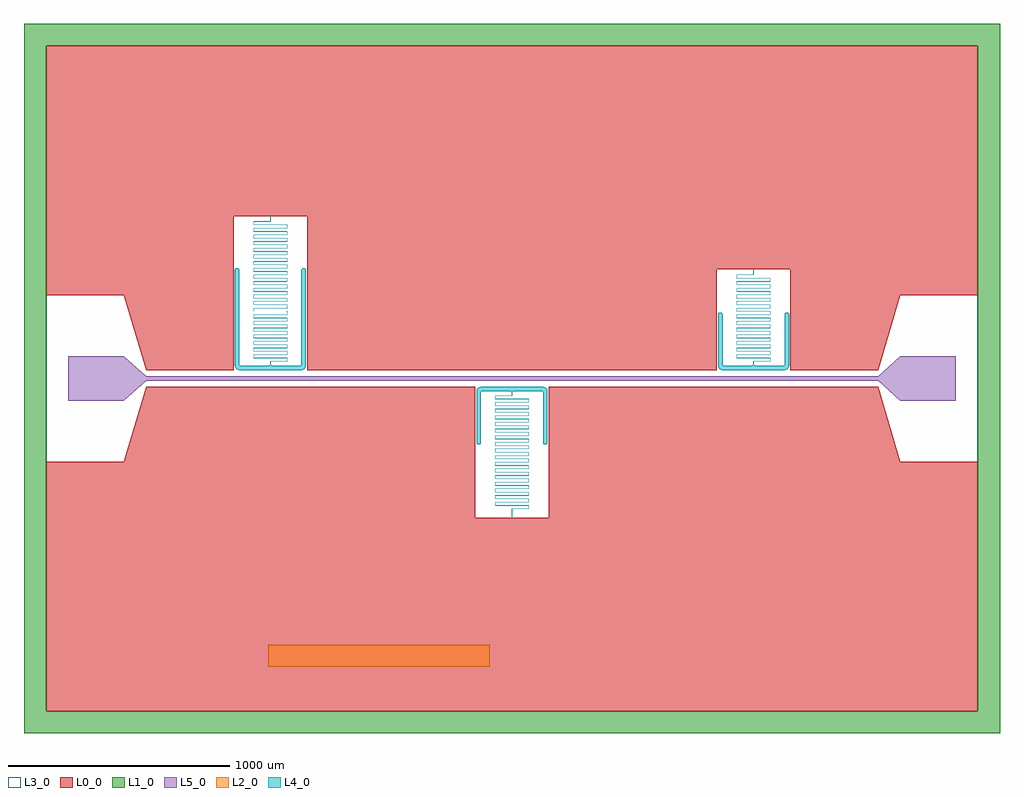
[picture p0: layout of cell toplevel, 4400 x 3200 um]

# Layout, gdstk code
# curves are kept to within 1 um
import gdstk
lib = gdstk.Library(unit=1e-6, precision=1e-09)
def R(c, l, rs):  # rectangles x0, y0, x1, y1
    for r in rs: c.add(gdstk.rectangle(r[:2], r[2:], *l))
def P(c, l, *ps):  # polygons
    for p in ps: c.add(gdstk.Polygon(p, *l))
L0_0 = (0, 0)
L1_0 = (1, 0)
L2_0 = (2, 0)
L3_0 = (3, 0)
L4_0 = (4, 0)
L5_0 = (5, 0)

toplevel = lib.new_cell('toplevel')
P(toplevel, L0_0, [(-924,732.5),(-924,37.5),(924,37.5),(924,492.5),(1254,492.5),(1254,37.5),(1650,37.5),(1750,375),(2100,375),(2100,1500),(-2100,1500),(-2100,375),(-1750,375),(-1650,37.5),(-1254,37.5),(-1254,732.5)],
  [(1650,-37.5),(165,-37.5),(165,-627.5),(-165,-627.5),(-165,-37.5),(-1650,-37.5),(-1750,-375),(-2100,-375),(-2100,-1500),(2100,-1500),(2100,-375),(1750,-375)])
P(toplevel, L1_0, [(2200,1600),(-2200,1600),(-2200,-1500),(-2100,-1500),(-2100,1500),(2100,1500),(2100,-1500),(-2100,-1500),(-2200,-1500),(-2200,-1600),(2200,-1600)])
R(toplevel, L2_0, [(-1100,-1300,-100,-1200)])
R(toplevel, L3_0, [(-2100,-1500,2100,1500)])
P(toplevel, L4_0, [(-957.256,37.5),(-946.018,38.652),(-937.664,42.765),(-931.925,49.852),(-929.25,59.469),(-929,302.861),(-949,302.861),(-949.028,63.36),(-950.06,58.461),(-956.931,57.5),(-1079,57.5),(-1088.7,62.5),(-1088.291,77.175),(-1014.361,77.305),(-1013.703,78.388),(-1013.702,91.589),(-1014.693,92.78),(-1163.666,93.171),(-1163.696,106.609),(-1163.132,107.195),(-1013.928,107.636),(-1013.704,121.63),(-1014.73,122.785),(-1162.888,122.8),(-1163.7,123.606),(-1163.176,137.191),(-1013.961,137.594),(-1013.707,151.684),(-1014.755,152.787),(-1162.94,152.8),(-1163.7,153.591),(-1163.184,167.19),(-1014.035,167.513),(-1013.707,181.684),(-1014.755,182.787),(-1162.94,182.8),(-1163.7,183.591),(-1163.184,197.19),(-1014.118,197.442),(-1013.707,211.683),(-1014.755,212.787),(-1162.935,212.8),(-1163.7,213.591),(-1163.184,227.19),(-1014.211,227.379),(-1013.702,241.56),(-1014.755,242.787),(-1162.935,242.8),(-1163.699,243.48),(-1163.184,257.19),(-1014.407,257.287),(-1013.706,258.346),(-1013.702,271.56),(-1014.755,272.787),(-1162.935,272.8),(-1163.699,273.476),(-1163.184,287.19),(-1014.571,287.241),(-1013.706,288.34),(-1013.702,301.56),(-1015.111,302.8),(-1164.195,302.861),(-1162.964,302.2),(-1014.428,302.03),(-1014.798,287.812),(-1162.888,287.8),(-1163.959,287.492),(-1164.3,286.404),(-1164.287,273.249),(-1163.251,272.213),(-1014.458,272.061),(-1014.798,257.812),(-1162.888,257.8),(-1163.959,257.492),(-1164.3,256.404),(-1164.295,243.352),(-1163.251,242.213),(-1014.535,242.115),(-1014.798,227.812),(-1162.888,227.8),(-1163.959,227.492),(-1164.3,226.404),(-1164.289,213.274),(-1163.251,212.213),(-1014.686,212.17),(-1014.605,197.854),(-1163.245,197.787),(-1164.292,196.684),(-1164.3,183.59),(-1162.97,182.2),(-1014.815,182.19),(-1014.466,167.932),(-1163.245,167.787),(-1164.292,166.684),(-1164.3,153.59),(-1162.97,152.2),(-1014.815,152.19),(-1014.433,137.964),(-1163.251,137.787),(-1164.294,136.666),(-1164.3,123.595),(-1163.987,122.535),(-1162.888,122.2),(-1014.85,122.193),(-1014.303,121.595),(-1014.3,108.612),(-1015.112,107.8),(-1163.238,107.788),(-1164.294,106.653),(-1164.3,93.612),(-1163.982,92.529),(-1162.888,92.2),(-1014.811,92.19),(-1014.45,77.946),(-1088.481,77.746),(-1089.296,76.612),(-1089.3,62.5),(-1099,57.5),(-1221.878,57.504),(-1227.976,58.489),(-1228.998,64.94),(-1229,302.861),(-1249,302.861),(-1248.965,62.829),(-1246.945,51.792),(-1244.619,47.373),(-1241.507,43.761),(-1233.471,39.103),(-1223.255,37.524)],
  [(-1163.433,302.869),(-1163.631,303.067),(-1163.699,303.471),(-1163.698,316.567),(-1163.572,317.03),(-1163.184,317.19),(-1015.036,317.2),(-1014.526,317.252),(-1014.142,317.424),(-1013.875,317.718),(-1013.73,318.13),(-1013.707,331.678),(-1013.797,332.119),(-1014.007,332.459),(-1014.328,332.681),(-1014.755,332.787),(-1162.935,332.8),(-1163.476,332.891),(-1163.678,333.229),(-1163.698,346.567),(-1163.572,347.03),(-1163.184,347.19),(-1015.036,347.2),(-1014.532,347.25),(-1014.148,347.42),(-1013.883,347.705),(-1013.733,348.11),(-1013.707,361.677),(-1013.797,362.119),(-1014.007,362.459),(-1014.328,362.681),(-1014.755,362.787),(-1162.935,362.8),(-1163.471,362.888),(-1163.675,363.213),(-1163.698,376.567),(-1163.572,377.03),(-1163.184,377.19),(-1015.036,377.2),(-1014.532,377.25),(-1014.155,377.415),(-1013.887,377.699),(-1013.737,378.091),(-1013.707,391.677),(-1013.797,392.119),(-1014.007,392.459),(-1014.328,392.681),(-1014.755,392.787),(-1162.935,392.8),(-1163.468,392.887),(-1163.673,393.201),(-1163.698,406.567),(-1163.572,407.03),(-1163.18,407.191),(-1015.041,407.2),(-1014.545,407.247),(-1014.167,407.407),(-1013.898,407.68),(-1013.743,408.065),(-1013.707,421.677),(-1013.797,422.119),(-1014.007,422.459),(-1014.328,422.681),(-1014.755,422.787),(-1162.93,422.8),(-1163.46,422.882),(-1163.67,423.186),(-1163.698,436.567),(-1163.572,437.03),(-1163.18,437.191),(-1015.041,437.2),(-1014.552,437.245),(-1014.18,437.398),(-1013.907,437.667),(-1013.749,438.039),(-1013.707,451.677),(-1013.797,452.119),(-1014.007,452.459),(-1014.328,452.681),(-1014.755,452.787),(-1162.93,452.8),(-1163.454,452.879),(-1163.665,453.168),(-1163.698,466.567),(-1163.572,467.03),(-1163.18,467.191),(-1015.041,467.2),(-1014.558,467.244),(-1014.192,467.39),(-1013.92,467.648),(-1013.757,468.006),(-1013.707,481.671),(-1013.795,482.112),(-1014.002,482.453),(-1014.328,482.681),(-1014.755,482.787),(-1162.93,482.8),(-1163.445,482.875),(-1163.66,483.15),(-1163.698,496.563),(-1163.572,497.03),(-1163.18,497.191),(-1015.041,497.2),(-1014.205,497.383),(-1013.937,497.624),(-1013.768,497.967),(-1013.7,498.547),(-1013.707,511.671),(-1013.795,512.112),(-1014.002,512.453),(-1014.328,512.681),(-1014.755,512.787),(-1162.93,512.8),(-1163.436,512.871),(-1163.654,513.129),(-1163.698,526.563),(-1163.572,527.03),(-1163.18,527.191),(-1015.047,527.2),(-1014.231,527.368),(-1013.961,527.593),(-1013.783,527.921),(-1013.7,528.541),(-1013.707,541.672),(-1013.795,542.112),(-1014.002,542.453),(-1014.328,542.681),(-1014.755,542.787),(-1162.925,542.8),(-1163.421,542.864),(-1163.645,543.102),(-1163.698,556.563),(-1163.572,557.03),(-1163.18,557.191),(-1015.047,557.2),(-1014.25,557.357),(-1013.981,557.57),(-1013.802,557.868),(-1013.7,558.53),(-1013.706,571.665),(-1013.795,572.112),(-1014.002,572.453),(-1014.328,572.681),(-1014.755,572.787),(-1162.925,572.8),(-1163.405,572.858),(-1163.633,573.073),(-1163.7,573.55),(-1163.698,586.558),(-1163.574,587.028),(-1163.18,587.191),(-1015.052,587.2),(-1014.283,587.34),(-1013.831,587.802),(-1013.7,588.519),(-1013.706,601.659),(-1013.795,602.112),(-1014.002,602.453),(-1014.328,602.681),(-1014.755,602.787),(-1162.92,602.8),(-1163.385,602.85),(-1163.618,603.04),(-1163.7,603.54),(-1163.698,616.558),(-1163.574,617.028),(-1163.18,617.191),(-1015.058,617.2),(-1014.328,617.319),(-1013.871,617.724),(-1013.7,618.503),(-1013.706,631.653),(-1013.792,632.106),(-1014.002,632.453),(-1014.328,632.681),(-1014.755,632.787),(-1162.92,632.8),(-1163.361,632.843),(-1163.596,633.003),(-1163.7,633.53),(-1163.698,646.553),(-1163.574,647.028),(-1163.18,647.191),(-1015.063,647.2),(-1014.388,647.295),(-1013.937,647.624),(-1013.76,647.993),(-1013.701,648.48),(-1013.705,661.642),(-1013.79,662.099),(-1013.997,662.448),(-1014.322,662.678),(-1014.749,662.787),(-1162.914,662.8),(-1163.328,662.834),(-1163.565,662.962),(-1163.7,663.52),(-1163.699,676.544),(-1163.575,677.025),(-1163.18,677.191),(-1015.074,677.2),(-1014.473,677.266),(-1014.047,677.502),(-1013.79,677.901),(-1013.701,678.452),(-1013.704,691.618),(-1013.785,692.086),(-1013.991,692.442),(-1014.315,692.675),(-1014.749,692.787),(-1162.909,692.8),(-1163.514,692.916),(-1163.654,693.129),(-1163.699,693.5),(-1163.699,706.505),(-1163.602,706.987),(-1163.287,707.175),(-1090.069,707.2),(-1089.257,707.354),(-1088.843,707.776),(-1088.701,708.457),(-1088.7,732.5),(-1089.3,732.5),(-1089.3,708.52),(-1089.355,708.102),(-1089.535,707.885),(-1090.08,707.8),(-1163.416,707.761),(-1163.795,707.617),(-1164.067,707.37),(-1164.236,707.02),(-1164.298,706.571),(-1164.298,693.429),(-1164.184,692.835),(-1163.864,692.428),(-1163.461,692.249),(-1162.92,692.2),(-1014.82,692.191),(-1014.425,692.025),(-1014.301,691.539),(-1014.3,678.51),(-1014.456,677.941),(-1015.091,677.8),(-1163.251,677.787),(-1163.685,677.675),(-1164.008,677.442),(-1164.213,677.092),(-1164.296,676.63),(-1164.299,663.463),(-1164.226,662.947),(-1164.014,662.564),(-1163.573,662.281),(-1162.931,662.2),(-1014.82,662.191),(-1014.425,662.025),(-1014.302,661.548),(-1014.3,648.525),(-1014.418,647.984),(-1014.653,647.839),(-1015.086,647.8),(-1163.245,647.787),(-1163.678,647.678),(-1164.003,647.448),(-1164.21,647.099),(-1164.295,646.648),(-1164.299,633.491),(-1164.25,633.032),(-1164.097,632.673),(-1163.645,632.308),(-1162.937,632.2),(-1014.82,632.191),(-1014.426,632.028),(-1014.302,631.553),(-1014.3,618.54),(-1014.391,618.024),(-1014.625,617.847),(-1015.08,617.8),(-1163.245,617.787),(-1163.671,617.681),(-1163.998,617.453),(-1164.205,617.112),(-1164.294,616.659),(-1164.3,603.508),(-1164.15,602.763),(-1163.698,602.331),(-1162.948,602.2),(-1014.82,602.191),(-1014.426,602.028),(-1014.302,601.558),(-1014.3,588.545),(-1014.373,588.058),(-1014.602,587.855),(-1015.075,587.8),(-1163.245,587.787),(-1163.671,587.681),(-1163.998,587.453),(-1164.205,587.112),(-1164.294,586.665),(-1164.3,573.525),(-1164.184,572.835),(-1163.73,572.347),(-1162.948,572.2),(-1014.82,572.191),(-1014.426,572.028),(-1014.302,571.558),(-1014.36,558.089),(-1014.586,557.861),(-1015.075,557.8),(-1163.245,557.787),(-1163.671,557.681),(-1163.998,557.453),(-1164.205,557.112),(-1164.294,556.665),(-1164.3,543.536),(-1164.208,542.894),(-1164.029,542.582),(-1163.763,542.364),(-1162.953,542.2),(-1014.82,542.191),(-1014.428,542.03),(-1014.302,541.563),(-1014.35,528.115),(-1014.573,527.867),(-1015.075,527.8),(-1163.245,527.787),(-1163.671,527.681),(-1163.998,527.453),(-1164.205,527.112),(-1164.293,526.672),(-1164.3,513.547),(-1164.226,512.947),(-1164.053,512.612),(-1163.782,512.375),(-1162.953,512.2),(-1014.82,512.191),(-1014.428,512.03),(-1014.302,511.563),(-1014.343,498.139),(-1014.561,497.872),(-1015.07,497.8),(-1163.245,497.787),(-1163.671,497.681),(-1163.998,497.453),(-1164.205,497.112),(-1164.293,496.671),(-1164.238,482.987),(-1164.071,482.636),(-1163.801,482.387),(-1163.435,482.243),(-1162.959,482.2),(-1014.82,482.191),(-1014.428,482.03),(-1014.302,481.563),(-1014.337,468.16),(-1014.549,467.878),(-1015.07,467.8),(-1163.245,467.787),(-1163.671,467.681),(-1163.992,467.459),(-1164.203,467.119),(-1164.293,466.677),(-1164.246,453.019),(-1164.085,452.655),(-1163.814,452.394),(-1163.441,452.244),(-1162.959,452.2),(-1014.82,452.191),(-1014.428,452.03),(-1014.302,451.567),(-1014.332,438.179),(-1014.543,437.881),(-1015.07,437.8),(-1163.245,437.787),(-1163.671,437.681),(-1163.992,437.459),(-1164.203,437.119),(-1164.293,436.677),(-1164.254,423.052),(-1164.097,422.673),(-1163.827,422.403),(-1163.454,422.247),(-1162.959,422.2),(-1014.82,422.191),(-1014.428,422.03),(-1014.302,421.567),(-1014.329,408.194),(-1014.535,407.885),(-1015.065,407.8),(-1163.245,407.787),(-1163.671,407.681),(-1163.992,407.459),(-1164.203,407.119),(-1164.293,406.677),(-1164.26,393.078),(-1164.105,392.686),(-1163.839,392.411),(-1163.461,392.249),(-1162.964,392.2),(-1014.815,392.19),(-1014.428,392.03),(-1014.302,391.567),(-1014.325,378.209),(-1014.529,377.888),(-1015.065,377.8),(-1163.245,377.787),(-1163.671,377.681),(-1163.992,377.459),(-1164.203,377.119),(-1164.293,376.677),(-1164.264,363.097),(-1164.113,362.699),(-1163.845,362.415),(-1163.468,362.25),(-1162.964,362.2),(-1014.815,362.19),(-1014.428,362.03),(-1014.302,361.567),(-1014.323,348.221),(-1014.526,347.89),(-1015.065,347.8),(-1163.245,347.787),(-1163.671,347.681),(-1163.992,347.459),(-1164.203,347.119),(-1164.293,346.677),(-1164.269,333.123),(-1164.121,332.711),(-1163.852,332.42),(-1163.468,332.25),(-1162.964,332.2),(-1014.815,332.19),(-1014.428,332.03),(-1014.302,331.567),(-1014.321,318.233),(-1014.521,317.893),(-1015.065,317.8),(-1163.245,317.787),(-1163.717,317.66),(-1164.058,317.382),(-1164.25,316.968),(-1164.3,316.404),(-1164.294,303.334),(-1164.195,302.861)],
  [(-1229,487.5),(-1231.627,494.256),(-1238.564,497.49),(-1245.756,494.873),(-1248.962,488.372),(-1249,302.861),(-1229,302.861)],
  [(-929,487.5),(-931.627,494.256),(-938.564,497.49),(-945.756,494.873),(-948.962,488.372),(-949,302.861),(-929,302.861)],
  [(-149.564,-297.49),(-143.244,-294.873),(-140.152,-289.236),(-140,-243.11),(-160,-243.11),(-159.848,-289.236),(-156.088,-295.433)],
  [(0.3,-588.55),(0.439,-587.958),(0.956,-587.801),(74.468,-587.75),(74.833,-587.593),(75.113,-587.301),(75.257,-586.935),(75.3,-586.388),(75.295,-573.364),(75.102,-572.68),(74.652,-572.31),(73.926,-572.2),(-74.18,-572.191),(-74.575,-572.025),(-74.699,-571.544),(-74.7,-558.52),(-74.648,-558.112),(-74.494,-557.902),(-73.914,-557.8),(74.251,-557.787),(74.678,-557.678),(75.003,-557.448),(75.21,-557.099),(75.295,-556.642),(75.299,-543.48),(75.208,-542.894),(74.918,-542.471),(74.468,-542.25),(73.937,-542.2),(-74.18,-542.191),(-74.574,-542.028),(-74.698,-541.553),(-74.7,-528.53),(-74.554,-527.95),(-74.321,-527.832),(-73.92,-527.8),(74.245,-527.787),(74.671,-527.681),(74.998,-527.453),(75.208,-527.106),(75.294,-526.654),(75.299,-513.503),(75.234,-512.973),(75.039,-512.593),(74.599,-512.29),(73.942,-512.2),(-74.18,-512.191),(-74.574,-512.028),(-74.698,-511.558),(-74.7,-498.54),(-74.599,-498.008),(-74.385,-497.85),(-73.92,-497.8),(74.245,-497.787),(74.671,-497.681),(74.998,-497.453),(75.205,-497.112),(75.294,-496.659),(75.3,-483.519),(75.129,-482.724),(74.639,-482.305),(73.948,-482.2),(-74.18,-482.191),(-74.574,-482.027),(-74.698,-481.558),(-74.7,-468.55),(-74.615,-468.035),(-74.361,-467.843),(-73.925,-467.8),(74.245,-467.787),(74.671,-467.681),(74.998,-467.453),(75.205,-467.112),(75.294,-466.665),(75.3,-453.53),(75.163,-452.789),(74.75,-452.357),(73.953,-452.2),(-74.18,-452.191),(-74.572,-452.03),(-74.698,-451.563),(-74.7,-438.555),(-74.626,-438.058),(-74.378,-437.848),(-73.925,-437.8),(74.245,-437.787),(74.671,-437.681),(74.998,-437.453),(75.205,-437.112),(75.293,-436.671),(75.3,-423.541),(75.181,-422.828),(74.982,-422.529),(74.691,-422.328),(73.953,-422.2),(-74.18,-422.191),(-74.572,-422.03),(-74.698,-421.563),(-74.7,-408.56),(-74.637,-408.082),(-74.392,-407.853),(-73.93,-407.8),(74.245,-407.787),(74.671,-407.681),(74.998,-407.453),(75.205,-407.112),(75.293,-406.671),(75.3,-393.547),(75.2,-392.875),(75.034,-392.587),(74.756,-392.36),(73.959,-392.2),(-74.18,-392.191),(-74.572,-392.03),(-74.698,-391.563),(-74.645,-378.102),(-74.398,-377.855),(-73.93,-377.8),(74.245,-377.787),(74.671,-377.681),(74.998,-377.453),(75.205,-377.112),(75.293,-376.671),(75.3,-363.558),(75.228,-362.954),(75.08,-362.648),(74.808,-362.39),(74.442,-362.244),(73.959,-362.2),(-74.18,-362.191),(-74.572,-362.03),(-74.698,-361.567),(-74.65,-348.115),(-74.454,-347.879),(-73.93,-347.8),(74.245,-347.787),(74.671,-347.681),(74.992,-347.459),(75.203,-347.119),(75.293,-346.677),(75.3,-333.563),(75.224,-332.94),(75.034,-332.587),(74.782,-332.375),(73.959,-332.2),(-74.18,-332.191),(-74.572,-332.03),(-74.698,-331.567),(-74.67,-318.186),(-74.46,-317.882),(-73.93,-317.8),(74.245,-317.787),(74.671,-317.681),(74.992,-317.459),(75.203,-317.119),(75.293,-316.678),(75.245,-303.013),(75.102,-302.68),(74.833,-302.407),(74.454,-302.247),(73.959,-302.2),(-74.18,-302.191),(-74.572,-302.03),(-74.698,-301.567),(-74.673,-288.202),(-74.468,-287.887),(-73.935,-287.8),(74.245,-287.787),(74.671,-287.681),(74.992,-287.459),(75.203,-287.119),(75.293,-286.678),(75.25,-273.032),(75.085,-272.655),(74.808,-272.39),(74.416,-272.238),(73.964,-272.2),(-74.184,-272.19),(-74.572,-272.03),(-74.698,-271.567),(-74.675,-258.213),(-74.471,-257.888),(-73.935,-257.8),(74.245,-257.787),(74.671,-257.681),(74.992,-257.459),(75.203,-257.119),(75.293,-256.677),(75.267,-243.11),(74.648,-243.11),(74.698,-256.567),(74.572,-257.03),(74.184,-257.19),(-73.964,-257.2),(-74.468,-257.25),(-74.845,-257.415),(-75.113,-257.699),(-75.264,-258.097),(-75.293,-271.678),(-75.203,-272.119),(-74.992,-272.459),(-74.671,-272.681),(-74.245,-272.787),(73.935,-272.8),(74.471,-272.888),(74.675,-273.209),(74.698,-286.567),(74.572,-287.03),(74.184,-287.19),(-73.964,-287.2),(-74.461,-287.249),(-74.839,-287.411),(-75.106,-287.686),(-75.26,-288.078),(-75.293,-301.678),(-75.203,-302.119),(-74.992,-302.459),(-74.671,-302.681),(-74.245,-302.787),(73.935,-302.8),(74.465,-302.885),(74.671,-303.194),(74.698,-316.567),(74.572,-317.03),(74.18,-317.191),(-73.959,-317.2),(-74.454,-317.247),(-74.827,-317.403),(-75.097,-317.673),(-75.241,-318),(-75.293,-331.678),(-75.203,-332.119),(-74.992,-332.459),(-74.671,-332.681),(-74.245,-332.787),(73.93,-332.8),(74.411,-332.86),(74.653,-333.125),(74.698,-346.567),(74.572,-347.03),(74.18,-347.191),(-73.959,-347.2),(-74.776,-347.371),(-75.058,-347.618),(-75.232,-347.967),(-75.3,-348.558),(-75.293,-361.677),(-75.203,-362.119),(-74.992,-362.459),(-74.671,-362.681),(-74.245,-362.787),(73.93,-362.8),(74.405,-362.858),(74.647,-363.108),(74.698,-376.563),(74.572,-377.03),(74.18,-377.191),(-73.959,-377.2),(-74.763,-377.364),(-75.044,-377.599),(-75.208,-377.894),(-75.3,-378.552),(-75.293,-391.671),(-75.205,-392.112),(-74.998,-392.453),(-74.671,-392.681),(-74.245,-392.787),(73.93,-392.8),(74.439,-392.872),(74.641,-393.092),(74.698,-406.563),(74.572,-407.03),(74.18,-407.191),(-73.953,-407.2),(-74.743,-407.353),(-75.024,-407.576),(-75.21,-407.901),(-75.3,-408.547),(-75.293,-421.671),(-75.205,-422.112),(-74.998,-422.453),(-74.671,-422.681),(-74.245,-422.787),(73.925,-422.8),(74.382,-422.849),(74.632,-423.07),(74.7,-423.56),(74.698,-436.563),(74.572,-437.03),(74.18,-437.191),(-73.953,-437.2),(-74.685,-437.325),(-74.97,-437.518),(-75.172,-437.809),(-75.3,-438.536),(-75.294,-451.665),(-75.205,-452.112),(-74.998,-452.453),(-74.671,-452.681),(-74.245,-452.787),(73.925,-452.8),(74.414,-452.861),(74.622,-453.049),(74.7,-453.555),(74.698,-466.558),(74.574,-467.027),(74.18,-467.191),(-73.948,-467.2),(-74.652,-467.31),(-74.942,-467.491),(-75.146,-467.757),(-75.3,-468.525),(-75.294,-481.665),(-75.205,-482.112),(-74.998,-482.453),(-74.671,-482.681),(-74.245,-482.787),(73.925,-482.8),(74.398,-482.855),(74.607,-483.021),(74.7,-483.545),(74.698,-496.558),(74.574,-497.027),(74.18,-497.191),(-73.948,-497.2),(-74.619,-497.297),(-75.062,-497.624),(-75.243,-498.006),(-75.3,-498.508),(-75.294,-511.659),(-75.205,-512.112),(-74.998,-512.453),(-74.671,-512.681),(-74.245,-512.787),(73.92,-512.8),(74.332,-512.835),(74.566,-512.964),(74.7,-513.54),(74.698,-526.553),(74.574,-527.028),(74.18,-527.191),(-73.937,-527.2),(-74.494,-527.257),(-74.959,-527.508),(-75.222,-527.934),(-75.299,-528.491),(-75.295,-541.648),(-75.21,-542.099),(-75.003,-542.448),(-74.678,-542.678),(-74.245,-542.787),(73.914,-542.8),(74.54,-542.937),(74.7,-543.525),(74.698,-556.548),(74.575,-557.025),(74.18,-557.191),(-73.931,-557.2),(-74.435,-557.243),(-74.82,-557.398),(-75.184,-557.835),(-75.299,-558.463),(-75.296,-571.63),(-75.213,-572.092),(-75.008,-572.442),(-74.685,-572.675),(-74.251,-572.787),(74.411,-572.86),(74.628,-573.061),(74.7,-573.51),(74.699,-586.515),(74.601,-586.989),(74.287,-587.175),(1.058,-587.2),(0.526,-587.252),(0.136,-587.428),(-0.195,-587.861),(-0.3,-588.508),(-0.3,-627.5),(0.3,-627.5)],
  [(150.436,-297.49),(156.756,-294.873),(159.848,-289.236),(160,-243.11),(140,-243.11),(140.152,-289.236),(143.912,-295.433)],
  [(160,-65.846),(158.848,-54.518),(154.523,-45.9),(147.232,-40.22),(137.094,-37.664),(-133.348,-37.508),(-141.658,-38.327),(-148.342,-40.789),(-153.012,-44.24),(-156.634,-49.02),(-158.884,-54.652),(-159.905,-61.426),(-160,-243.11),(-140,-243.11),(-139.962,-63.083),(-138.918,-58.445),(-132.069,-57.5),(-10,-57.5),(-0.3,-62.5),(-0.709,-77.175),(-74.639,-77.305),(-75.296,-78.388),(-75.297,-91.589),(-74.307,-92.78),(74.65,-93.115),(74.132,-107.195),(-74.976,-107.524),(-75.296,-121.624),(-74.276,-122.784),(73.888,-122.8),(74.7,-123.612),(74.163,-137.192),(-74.9,-137.456),(-75.294,-151.654),(-74.245,-152.787),(73.888,-152.8),(74.7,-153.612),(74.184,-167.19),(-74.808,-167.39),(-75.296,-181.624),(-74.269,-182.785),(73.888,-182.8),(74.698,-183.423),(74.176,-197.191),(-74.645,-197.308),(-75.293,-198.328),(-75.298,-211.56),(-74.245,-212.787),(73.935,-212.8),(74.699,-213.466),(74.184,-227.19),(-74.416,-227.238),(-75.293,-228.322),(-75.298,-241.56),(-73.888,-242.8),(75.267,-243.11),(73.964,-242.2),(-74.542,-242.061),(-74.197,-227.811),(73.888,-227.8),(75.3,-226.404),(75.293,-213.328),(74.245,-212.213),(-74.465,-212.115),(-74.197,-197.811),(73.997,-197.799),(75.3,-196.378),(75.292,-183.31),(74.238,-182.212),(-74.291,-182.175),(-74.421,-167.864),(74.257,-167.786),(75.287,-166.751),(75.3,-153.601),(73.888,-152.2),(-74.171,-152.191),(-74.509,-137.912),(74.22,-137.79),(75.293,-136.678),(75.3,-123.606),(73.888,-122.2),(-74.15,-122.193),(-74.7,-108.612),(-73.888,-107.8),(74.238,-107.788),(75.294,-106.653),(75.3,-93.612),(73.888,-92.2),(-74.189,-92.19),(-74.519,-77.919),(-0.519,-77.746),(0.296,-76.612),(0.3,-62.5),(10,-57.5),(132.878,-57.504),(138.839,-58.392),(139.997,-64.78),(140,-243.11),(160,-243.11)],
  [(1220.744,37.5),(1231.184,38.448),(1239.263,41.974),(1245.064,48.055),(1248.333,56.619),(1249,182.947),(1229,182.947),(1228.929,62.427),(1227.839,58.392),(1221.069,57.5),(1099,57.5),(1089.3,62.5),(1089.709,77.175),(1163.639,77.305),(1164.297,91.589),(1163.307,92.78),(1014.371,93.064),(1014.811,107.19),(1163.814,107.394),(1164.298,121.565),(1163.238,122.788),(1014.301,123.461),(1014.815,137.19),(1163.625,137.3),(1164.298,151.56),(1163.245,152.787),(1015.065,152.8),(1014.3,153.575),(1014.82,167.191),(1163.403,167.236),(1164.29,168.286),(1164.298,181.56),(1162.888,182.8),(1013.774,182.947),(1015.041,182.2),(1163.465,182.115),(1163.189,167.81),(1015.111,167.8),(1013.7,166.404),(1013.709,153.298),(1014.761,152.212),(1163.314,152.17),(1163.424,137.865),(1014.755,137.787),(1013.707,136.678),(1013.7,123.574),(1015.036,122.2),(1163.18,122.191),(1163.7,108.622),(1162.965,107.8),(1014.798,107.791),(1013.707,106.683),(1013.7,93.622),(1015.111,92.2),(1163.189,92.19),(1163.482,77.894),(1089.519,77.746),(1088.704,76.612),(1088.7,62.5),(1079,57.5),(956.602,57.501),(950.512,58.21),(949.396,59.981),(949.004,64.622),(949,182.947),(929,182.947),(929.204,59.941),(930.427,53.574),(932.936,48.055),(936.621,43.645),(941.49,40.356),(947.991,38.192),(956.042,37.504)],
  [(1014.435,182.962),(1014.3,183.575),(1014.302,196.567),(1014.428,197.03),(1014.82,197.191),(1162.959,197.2),(1163.448,197.245),(1163.82,197.398),(1164.093,197.667),(1164.251,198.039),(1164.293,211.677),(1164.203,212.119),(1163.992,212.459),(1163.671,212.681),(1163.245,212.787),(1015.07,212.8),(1014.546,212.879),(1014.335,213.168),(1014.302,226.567),(1014.428,227.03),(1014.82,227.191),(1162.959,227.2),(1163.441,227.244),(1163.808,227.39),(1164.08,227.648),(1164.243,228.006),(1164.293,241.671),(1164.205,242.112),(1163.998,242.453),(1163.671,242.681),(1163.245,242.787),(1015.07,242.8),(1014.555,242.875),(1014.34,243.15),(1014.302,256.563),(1014.428,257.03),(1014.82,257.191),(1162.959,257.2),(1163.795,257.383),(1164.062,257.624),(1164.232,257.967),(1164.3,258.547),(1164.293,271.671),(1164.205,272.112),(1163.998,272.453),(1163.671,272.681),(1163.245,272.787),(1015.07,272.8),(1014.564,272.871),(1014.346,273.129),(1014.302,286.563),(1014.428,287.03),(1014.82,287.191),(1162.953,287.2),(1163.769,287.368),(1164.039,287.594),(1164.217,287.921),(1164.3,288.541),(1164.293,301.671),(1164.205,302.112),(1163.998,302.453),(1163.671,302.681),(1163.245,302.787),(1015.075,302.8),(1014.579,302.864),(1014.355,303.102),(1014.302,316.563),(1014.428,317.03),(1014.82,317.191),(1162.953,317.2),(1163.75,317.357),(1164.019,317.57),(1164.198,317.868),(1164.3,318.53),(1164.294,331.666),(1164.205,332.112),(1163.998,332.453),(1163.671,332.681),(1163.245,332.787),(1015.075,332.8),(1014.595,332.858),(1014.367,333.073),(1014.3,333.55),(1014.302,346.558),(1014.426,347.027),(1014.82,347.191),(1162.948,347.2),(1163.717,347.34),(1164.169,347.802),(1164.3,348.519),(1164.294,361.659),(1164.205,362.112),(1163.998,362.453),(1163.671,362.681),(1163.245,362.787),(1015.08,362.8),(1014.615,362.85),(1014.382,363.04),(1014.3,363.54),(1014.302,376.558),(1014.426,377.027),(1014.82,377.191),(1162.942,377.2),(1163.671,377.319),(1164.129,377.724),(1164.3,378.503),(1164.294,391.653),(1164.208,392.106),(1163.998,392.453),(1163.671,392.681),(1163.245,392.787),(1015.08,392.8),(1014.639,392.843),(1014.404,393.003),(1014.3,393.53),(1014.302,406.553),(1014.426,407.027),(1014.82,407.191),(1162.937,407.2),(1163.612,407.295),(1164.062,407.624),(1164.24,407.993),(1164.299,408.48),(1164.295,421.642),(1164.21,422.099),(1164.003,422.448),(1163.678,422.678),(1163.251,422.787),(1015.086,422.8),(1014.671,422.834),(1014.435,422.962),(1014.3,423.52),(1014.301,436.544),(1014.425,437.025),(1014.82,437.191),(1162.926,437.2),(1163.527,437.266),(1163.953,437.502),(1164.21,437.901),(1164.299,438.452),(1164.296,451.618),(1164.215,452.086),(1164.008,452.442),(1163.685,452.675),(1163.251,452.787),(1015.091,452.8),(1014.486,452.916),(1014.346,453.129),(1014.301,453.5),(1014.301,466.505),(1014.398,466.987),(1014.713,467.175),(1087.931,467.2),(1088.743,467.353),(1089.157,467.776),(1089.299,468.457),(1089.3,492.5),(1088.7,492.5),(1088.7,468.52),(1088.645,468.102),(1088.465,467.885),(1087.92,467.8),(1014.584,467.761),(1014.205,467.617),(1013.933,467.37),(1013.764,467.02),(1013.702,466.571),(1013.702,453.429),(1013.816,452.835),(1014.136,452.428),(1014.539,452.249),(1015.079,452.2),(1163.18,452.191),(1163.575,452.025),(1163.699,451.539),(1163.7,438.51),(1163.544,437.941),(1162.909,437.8),(1014.749,437.787),(1014.315,437.675),(1013.991,437.442),(1013.787,437.092),(1013.704,436.63),(1013.701,423.463),(1013.774,422.947),(1013.986,422.564),(1014.427,422.281),(1015.069,422.2),(1163.18,422.191),(1163.575,422.025),(1163.698,421.548),(1163.7,408.525),(1163.582,407.984),(1163.347,407.839),(1162.914,407.8),(1014.755,407.787),(1014.322,407.678),(1013.997,407.448),(1013.79,407.099),(1013.705,406.647),(1013.701,393.491),(1013.75,393.032),(1013.903,392.673),(1014.355,392.308),(1015.063,392.2),(1163.18,392.191),(1163.574,392.027),(1163.698,391.553),(1163.7,378.54),(1163.609,378.024),(1163.375,377.847),(1162.92,377.8),(1014.755,377.787),(1014.328,377.681),(1014.002,377.453),(1013.795,377.112),(1013.706,376.659),(1013.7,363.508),(1013.85,362.763),(1014.302,362.331),(1015.052,362.2),(1163.18,362.191),(1163.574,362.027),(1163.698,361.558),(1163.7,348.545),(1163.626,348.058),(1163.398,347.855),(1162.925,347.8),(1014.755,347.787),(1014.328,347.681),(1014.002,347.453),(1013.795,347.112),(1013.706,346.665),(1013.7,333.525),(1013.816,332.835),(1014.002,332.547),(1014.27,332.347),(1015.052,332.2),(1163.18,332.191),(1163.574,332.027),(1163.698,331.558),(1163.64,318.089),(1163.414,317.861),(1162.925,317.8),(1014.755,317.787),(1014.328,317.681),(1014.002,317.453),(1013.795,317.112),(1013.706,316.666),(1013.7,303.536),(1013.792,302.894),(1013.971,302.582),(1014.237,302.364),(1015.047,302.2),(1163.18,302.191),(1163.572,302.03),(1163.698,301.563),(1163.649,288.115),(1163.427,287.867),(1162.925,287.8),(1014.755,287.787),(1014.328,287.681),(1014.002,287.453),(1013.795,287.112),(1013.707,286.671),(1013.7,273.547),(1013.774,272.947),(1013.947,272.612),(1014.218,272.375),(1015.047,272.2),(1163.18,272.191),(1163.572,272.03),(1163.698,271.563),(1163.657,258.139),(1163.439,257.872),(1162.93,257.8),(1014.755,257.787),(1014.328,257.681),(1014.002,257.453),(1013.795,257.112),(1013.707,256.671),(1013.762,242.987),(1013.928,242.636),(1014.199,242.387),(1014.565,242.243),(1015.041,242.2),(1163.18,242.191),(1163.572,242.03),(1163.698,241.563),(1163.663,228.16),(1163.451,227.878),(1162.93,227.8),(1014.755,227.787),(1014.328,227.681),(1014.007,227.459),(1013.797,227.119),(1013.707,226.677),(1013.753,213.019),(1013.915,212.655),(1014.186,212.394),(1014.558,212.244),(1015.041,212.2),(1163.18,212.191),(1163.572,212.03),(1163.698,211.567),(1163.668,198.179),(1163.457,197.881),(1162.93,197.8),(1014.755,197.787),(1014.328,197.681),(1013.976,197.424),(1013.764,197.02),(1013.702,196.56),(1013.703,183.406),(1013.774,182.947)],
  [(949,287.5),(946.373,294.256),(939.872,297.462),(932.912,295.433),(929.152,289.236),(929,182.947),(949,182.947)],
  [(1249,287.5),(1246.373,294.256),(1239.872,297.462),(1232.912,295.433),(1229.152,289.236),(1229,182.947),(1249,182.947)])
P(toplevel, L5_0, [(-1650,10),(-1750,100),(-2000,100),(-2000,-100),(-1750,-100),(-1650,-10),(1650,-10),(1750,-100),(2000,-100),(2000,100),(1750,100),(1650,10)])

lib.write_gds('toplevel.gds')
